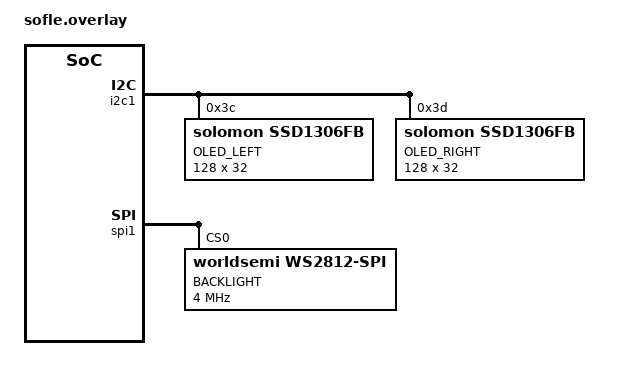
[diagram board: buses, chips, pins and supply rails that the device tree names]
/ {
    chosen {
        zmk,keyboard = &keymap;
    };
};

/* I²C für OLEDs */
&i2c1 {
    status = "okay";

    oled_left: ssd1306@3c {
        compatible = "solomon,ssd1306fb";
        reg = <0x3c>;
        label = "OLED_LEFT";
        width = <128>;
        height = <32>;
        status = "okay";
    };

    oled_right: ssd1306@3d {
        compatible = "solomon,ssd1306fb";
        reg = <0x3d>;
        label = "OLED_RIGHT";
        width = <128>;
        height = <32>;
        status = "okay";
    };
};

/* SK6812 LEDs */
&spi1 {
    status = "okay";
    led_strip: sk6812@0 {
        compatible = "worldsemi,ws2812-spi";
        reg = <0>;
        label = "BACKLIGHT";
        spi-max-frequency = <4000000>;
        chain-length = <30>;  /* Anzahl LEDs pro Hälfte */
        color-mapping = <LED_COLOR_ID_GREEN LED_COLOR_ID_RED LED_COLOR_ID_BLUE>;
        status = "okay";
    };
};
